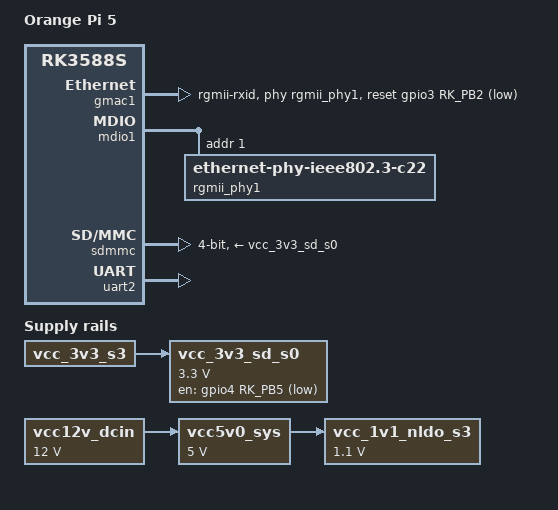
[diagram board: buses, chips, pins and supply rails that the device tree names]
// SPDX-License-Identifier: (GPL-2.0+ OR MIT)

/dts-v1/;

#include <dt-bindings/gpio/gpio.h>
#include <dt-bindings/pinctrl/rockchip.h>
#include "rk3588s.dtsi"
#include "rk3588-rk806-single.dtsi"

/ {
	model = "Orange Pi 5";
	compatible = "rockchip,rk3588s-orangepi-5", "rockchip,rk3588s";

	aliases {
		serial2 = &uart2;
	};

	chosen {
		stdout-path = "serial2:1500000n8";
	};

	vcc12v_dcin: vcc12v-dcin {
		compatible = "regulator-fixed";
		regulator-name = "vcc12v_dcin";
		regulator-always-on;
		regulator-boot-on;
		regulator-min-microvolt = <12000000>;
		regulator-max-microvolt = <12000000>;
	};

	vcc5v0_sys: vcc5v0-sys {
		compatible = "regulator-fixed";
		regulator-name = "vcc5v0_sys";
		regulator-always-on;
		regulator-boot-on;
		regulator-min-microvolt = <5000000>;
		regulator-max-microvolt = <5000000>;
		vin-supply = <&vcc12v_dcin>;
	};

	vcc_1v1_nldo_s3: vcc-1v1-nldo-s3 {
		compatible = "regulator-fixed";
		regulator-name = "vcc_1v1_nldo_s3";
		regulator-always-on;
		regulator-boot-on;
		regulator-min-microvolt = <1100000>;
		regulator-max-microvolt = <1100000>;
		vin-supply = <&vcc5v0_sys>;
	};

	vcc_3v3_sd_s0: vcc-3v3-sd-s0 {
		compatible = "regulator-fixed";
		regulator-name = "vcc_3v3_sd_s0";
		regulator-min-microvolt = <3300000>;
		regulator-max-microvolt = <3300000>;
		gpios = <&gpio4 RK_PB5 GPIO_ACTIVE_LOW>;
		enable-active-low;
		vin-supply = <&vcc_3v3_s3>;
		regulator-state-mem {
			regulator-off-in-suspend;
		};
	};
};

&gmac1 {
	/* Use rgmii-rxid mode to disable rx delay inside Soc */
	phy-mode = "rgmii-rxid";
	phy-handle = <&rgmii_phy1>;
	clock_in_out = "output";

	snps,reset-gpio = <&gpio3 RK_PB2 GPIO_ACTIVE_LOW>;
	snps,reset-active-low;
	/* Reset time is 20ms, 100ms for rtl8211f */
	snps,reset-delays-us = <0 20000 100000>;

	pinctrl-names = "default";
	pinctrl-0 = <&gmac1_miim
	             &gmac1_tx_bus2
	             &gmac1_rx_bus2
	             &gmac1_rgmii_clk
	             &gmac1_rgmii_bus>;

	tx_delay = <0x42>;
	/* rx_delay = <0x3f>; */

	phy-handle = <&rgmii_phy1>;
	status = "okay";
};

&mdio1 {
	rgmii_phy1: phy@1 {
		compatible = "ethernet-phy-ieee802.3-c22";
		reg = <0x1>;
	};
};

&pinctrl {
	sata {
		sata_reset:sata-reset{
			rockchip,pins = <3 RK_PD1 RK_FUNC_GPIO &pcfg_pull_up>;
		};
	};

	headphone {
		hp_det: hp-det {
			rockchip,pins = <1 RK_PD5 RK_FUNC_GPIO &pcfg_pull_none>;
		};
	};

	hym8563 {
		hym8563_int: hym8563-int {
			rockchip,pins = <0 RK_PB0 RK_FUNC_GPIO &pcfg_pull_up>;
		};
	};

	lcd {
		lcd0_rst_gpio: lcd0-rst-gpio {
			rockchip,pins = <1 RK_PB1 RK_FUNC_GPIO &pcfg_pull_none>;
		};

		lcd1_rst_gpio: lcd1-rst-gpio {
			rockchip,pins = <1 RK_PB3 RK_FUNC_GPIO &pcfg_pull_none>;
		};
	};

	usb-typec {
		usbc0_int: usbc0-int {
			rockchip,pins = <0 RK_PD3 RK_FUNC_GPIO &pcfg_pull_up>;
		};

		typec5v_pwren: typec5v-pwren {
			rockchip,pins = <3 RK_PC0 RK_FUNC_GPIO &pcfg_pull_none>;
		};
	};

	wireless-bluetooth {
		uart9_gpios: uart9-gpios {
			rockchip,pins = <3 RK_PD2 RK_FUNC_GPIO &pcfg_pull_none>;
		};

		bt_gpio: bt-gpio {
			rockchip,pins =
				<3 RK_PA6 RK_FUNC_GPIO &pcfg_pull_none>,
				<0 RK_PC6 RK_FUNC_GPIO &pcfg_pull_up>;
		};
	};

	wireless-wlan {
		wifi_host_wake_irq: wifi-host-wake-irq {
			rockchip,pins = <0 RK_PA0 RK_FUNC_GPIO &pcfg_pull_down>;
		};

		wifi_poweren_gpio: wifi-poweren-gpio {
			rockchip,pins = <0 RK_PD0 RK_FUNC_GPIO &pcfg_pull_up>;
		};
	};
};

&sdmmc {
	max-frequency = <150000000>;
	no-sdio;
	no-mmc;
	bus-width = <4>;
	cap-mmc-highspeed;
	cap-sd-highspeed;
	disable-wp;
	sd-uhs-sdr104;
	vmmc-supply = <&vcc_3v3_sd_s0>;
	vqmmc-supply = <&vccio_sd_s0>;
	pinctrl-names = "default";
	pinctrl-0 = <&sdmmc_bus4 &sdmmc_clk &sdmmc_cmd &sdmmc_det>;
	status = "okay";
};

&uart2 {
	pinctrl-0 = <&uart2m0_xfer>;
	status = "okay";
};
